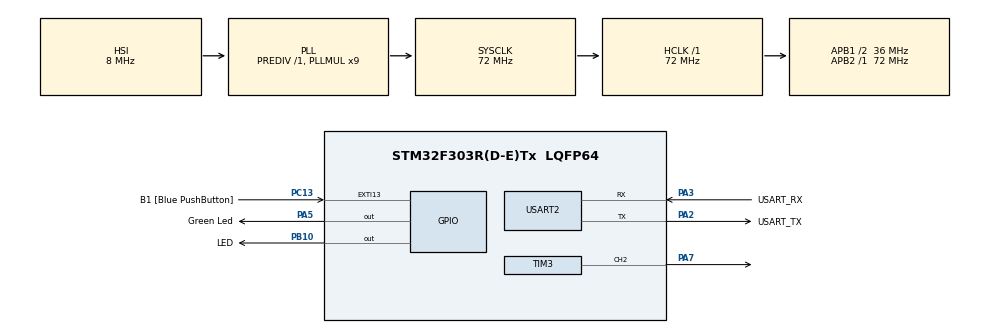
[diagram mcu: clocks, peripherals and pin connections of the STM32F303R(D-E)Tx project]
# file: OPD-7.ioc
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Mcu.Family=STM32F3
Mcu.Name=STM32F303R(D-E)Tx
Mcu.Package=LQFP64
NVIC.PriorityGroup=NVIC_PRIORITYGROUP_0
NVIC.TIM3_IRQn=true\:0\:0\:false\:false\:true\:true\:true\:true
PA13.GPIO_Label=TMS
PA13.Mode=Serial_Wire
PA13.Signal=SYS_JTMS-SWDIO
PA14.GPIO_Label=TCK
PA14.Mode=Serial_Wire
PA14.Signal=SYS_JTCK-SWCLK
PA2.GPIO_Label=USART_TX
PA2.GPIO_Mode=GPIO_MODE_AF_PP
PA2.GPIO_PuPd=GPIO_NOPULL
PA2.GPIO_Speed=GPIO_SPEED_FREQ_LOW
PA2.Mode=Asynchronous
PA2.Signal=USART2_TX
PA3.GPIO_Label=USART_RX
PA3.GPIO_Mode=GPIO_MODE_AF_PP
PA3.GPIO_PuPd=GPIO_NOPULL
PA3.GPIO_Speed=GPIO_SPEED_FREQ_LOW
PA3.Mode=Asynchronous
PA3.Signal=USART2_RX
PA5.GPIO_Label=Green Led
PA5.GPIO_Mode=GPIO_MODE_OUTPUT_PP
PA5.GPIO_PuPd=GPIO_NOPULL
PA5.GPIO_Speed=GPIO_SPEED_FREQ_LOW
PA5.Signal=GPIO_Output
PA6.GPIO_Mode=GPIO_MODE_AF_PP
PA6.GPIO_PuPd=GPIO_NOPULL
PA6.GPIO_Speed=GPIO_SPEED_FREQ_LOW
PA6.Signal=S_TIM3_CH1
PA7.GPIO_Mode=GPIO_MODE_AF_PP
PA7.GPIO_PuPd=GPIO_NOPULL
PA7.GPIO_Speed=GPIO_SPEED_FREQ_LOW
PA7.Signal=S_TIM3_CH2
PB10.GPIO_Label=LED
PB10.Signal=GPIO_Output
PB3.GPIO_Label=SWO
PB3.Signal=SYS_JTDO-TRACESWO
PC13.GPIO_Label=B1 [Blue PushButton]
PC13.GPIO_ModeDefaultEXTI=GPIO_MODE_IT_FALLING
PC13.Signal=GPXTI13
PC14-OSC32_IN.Mode=LSE-External-Oscillator
PC14-OSC32_IN.Signal=RCC_OSC32_IN
PC15-OSC32_OUT.Mode=LSE-External-Oscillator
PC15-OSC32_OUT.Signal=RCC_OSC32_OUT
PF0-OSC_IN.Mode=HSE-External-Clock-Source
PF0-OSC_IN.Signal=RCC_OSC_IN
PF1-OSC_OUT.Signal=RCC_OSC_OUT
ProjectManager.HeapSize=0x200
ProjectManager.StackSize=0x400
ProjectManager.TargetToolchain=STM32CubeIDE
RCC.AHBFreq_Value=72000000
RCC.APB1CLKDivider=RCC_HCLK_DIV2
RCC.APB1Freq_Value=36000000
RCC.APB1TimFreq_Value=72000000
RCC.APB2Freq_Value=72000000
RCC.APB2TimFreq_Value=72000000
RCC.CortexFreq_Value=72000000
RCC.HCLKFreq_Value=72000000
RCC.HSE_VALUE=8000000
RCC.HSI_VALUE=8000000
RCC.PLLM=8
RCC.PLLMUL=RCC_PLL_MUL9
RCC.PLLN=336
RCC.PLLP=RCC_PLLP_DIV4
RCC.PLLQ=7
RCC.RCC_PLLsource_Clock_Source_FROM_HSE=RCC_HSE_PREDIV_DIV2
RCC.SYSCLKFreq_VALUE=72000000
RCC.SYSCLKSourceVirtual=RCC_SYSCLKSOURCE_PLLCLK
RCC.USBFreq_Value=72000000
SH.S_TIM3_CH1.0=TIM3_CH1
SH.S_TIM3_CH2.0=TIM3_CH2,Output Compare2 CH2
TIM3.Channel-Output\ Compare2\ CH2=TIM_CHANNEL_2
TIM3.OC2Preload=ENABLE
TIM3.OCMode_2=TIM_OCMODE_TOGGLE
TIM3.Prescaler=7200-1
USART2.VirtualMode-Asynchronous=VM_ASYNC
VP_TIM3_VS_ClockSourceINT.Mode=Internal
board=NUCLEO-F303RE

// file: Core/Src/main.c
/* USER CODE BEGIN Header */
/**
  ******************************************************************************
  * @file           : main.c
  * @brief          : Main program body
  ******************************************************************************
  * @attention
  *
  * Copyright (c) 2026 STMicroelectronics.
  * All rights reserved.
  *
  * This software is licensed under terms that can be found in the LICENSE file
  * in the root directory of this software component.
  * If no LICENSE file comes with this software, it is provided AS-IS.
  *
  ******************************************************************************
  */
/* USER CODE END Header */
#include "main.h"

/* USER CODE BEGIN Includes */
#include <stdio.h>
/* USER CODE END Includes */

/* USER CODE BEGIN PD */
#define KNIPPERTIJD 500
#define KLOK_FREQ 72000000
#define PRESCALER 7200
#define NOTE_D  293.66
#define NOTE_Ds 311.13
#define NOTE_F  349.23
#define NOTE_G  392.0
#define TIJDSDUUR1 180
#define TIJDSDUUR2 120
/* USER CODE END PD */

TIM_HandleTypeDef htim3;

UART_HandleTypeDef huart2;

/* USER CODE BEGIN PV */
int autoReload = 5000-1;
/* USER CODE END PV */

void SystemClock_Config(void);
static void MX_GPIO_Init(void);
static void MX_USART2_UART_Init(void);
static void MX_TIM3_Init(void);
/* USER CODE BEGIN PFP */
void speelNoot(double noot, int duur);
/* USER CODE END PFP */

int main(void)
{

  /* MCU Configuration--------------------------------------------------------*/

  /* Reset of all peripherals, Initializes the Flash interface and the Systick. */
  HAL_Init();

  /* Configure the system clock */
  SystemClock_Config();

  /* Initialize all configured peripherals */
  MX_GPIO_Init();
  MX_USART2_UART_Init();
  MX_TIM3_Init();
  /* USER CODE BEGIN 2 */
  char outpbuf[30]={0};
  int aantalc;
  aantalc=sprintf(outpbuf,"De knipper LED\r\n");
  HAL_UART_Transmit(&huart2, (uint8_t*)outpbuf, aantalc, HAL_MAX_DELAY);
  HAL_TIM_Base_Start(&htim3);

  speelNoot(NOTE_G, TIJDSDUUR1);
  HAL_Delay(TIJDSDUUR2);
  speelNoot(NOTE_G, TIJDSDUUR1);
  HAL_Delay(TIJDSDUUR2);
  speelNoot(NOTE_G, TIJDSDUUR1);
  HAL_Delay(TIJDSDUUR2);
  speelNoot(NOTE_Ds, 4 * TIJDSDUUR1);
  HAL_Delay(2 * TIJDSDUUR2);
  speelNoot(NOTE_F, TIJDSDUUR1);
  HAL_Delay(TIJDSDUUR2);
  speelNoot(NOTE_F, TIJDSDUUR1);
  HAL_Delay(TIJDSDUUR2);
  speelNoot(NOTE_F, TIJDSDUUR1);
  HAL_Delay(TIJDSDUUR2);
  speelNoot(NOTE_D, 4 * TIJDSDUUR1);

  HAL_TIM_OC_Stop(&htim3, TIM_CHANNEL_2);
  HAL_TIM_Base_Stop(&htim3);

  /* USER CODE END 2 */

  /* Infinite loop */
  while (1)
  {

  }
}

void SystemClock_Config(void)
{
  RCC_OscInitTypeDef RCC_OscInitStruct = {0};
  RCC_ClkInitTypeDef RCC_ClkInitStruct = {0};
  RCC_PeriphCLKInitTypeDef PeriphClkInit = {0};

  /** Initializes the RCC Oscillators according to the specified parameters
  * in the RCC_OscInitTypeDef structure.
  */
  RCC_OscInitStruct.OscillatorType = RCC_OSCILLATORTYPE_HSI;
  RCC_OscInitStruct.HSIState = RCC_HSI_ON;
  RCC_OscInitStruct.HSICalibrationValue = RCC_HSICALIBRATION_DEFAULT;
  RCC_OscInitStruct.PLL.PLLState = RCC_PLL_ON;
  RCC_OscInitStruct.PLL.PLLSource = RCC_PLLSOURCE_HSI;
  RCC_OscInitStruct.PLL.PLLMUL = RCC_PLL_MUL9;
  RCC_OscInitStruct.PLL.PREDIV = RCC_PREDIV_DIV1;
  if (HAL_RCC_OscConfig(&RCC_OscInitStruct) != HAL_OK)
  {
    Error_Handler();
  }

  /** Initializes the CPU, AHB and APB buses clocks
  */
  RCC_ClkInitStruct.ClockType = RCC_CLOCKTYPE_HCLK|RCC_CLOCKTYPE_SYSCLK
                              |RCC_CLOCKTYPE_PCLK1|RCC_CLOCKTYPE_PCLK2;
  RCC_ClkInitStruct.SYSCLKSource = RCC_SYSCLKSOURCE_PLLCLK;
  RCC_ClkInitStruct.AHBCLKDivider = RCC_SYSCLK_DIV1;
  RCC_ClkInitStruct.APB1CLKDivider = RCC_HCLK_DIV2;
  RCC_ClkInitStruct.APB2CLKDivider = RCC_HCLK_DIV1;

  if (HAL_RCC_ClockConfig(&RCC_ClkInitStruct, FLASH_LATENCY_2) != HAL_OK)
  {
    Error_Handler();
  }
  PeriphClkInit.PeriphClockSelection = RCC_PERIPHCLK_USART2|RCC_PERIPHCLK_TIM34;
  PeriphClkInit.Usart2ClockSelection = RCC_USART2CLKSOURCE_PCLK1;
  PeriphClkInit.Tim34ClockSelection = RCC_TIM34CLK_HCLK;
  if (HAL_RCCEx_PeriphCLKConfig(&PeriphClkInit) != HAL_OK)
  {
    Error_Handler();
  }
}

static void MX_TIM3_Init(void)
{

  TIM_ClockConfigTypeDef sClockSourceConfig = {0};
  TIM_MasterConfigTypeDef sMasterConfig = {0};
  TIM_OC_InitTypeDef sConfigOC = {0};

  htim3.Instance = TIM3;
  htim3.Init.Prescaler = 7200-1;
  htim3.Init.CounterMode = TIM_COUNTERMODE_UP;
  htim3.Init.Period = 65535;
  htim3.Init.ClockDivision = TIM_CLOCKDIVISION_DIV1;
  htim3.Init.AutoReloadPreload = TIM_AUTORELOAD_PRELOAD_DISABLE;
  if (HAL_TIM_Base_Init(&htim3) != HAL_OK)
  {
    Error_Handler();
  }
  sClockSourceConfig.ClockSource = TIM_CLOCKSOURCE_INTERNAL;
  if (HAL_TIM_ConfigClockSource(&htim3, &sClockSourceConfig) != HAL_OK)
  {
    Error_Handler();
  }
  if (HAL_TIM_OC_Init(&htim3) != HAL_OK)
  {
    Error_Handler();
  }
  sMasterConfig.MasterOutputTrigger = TIM_TRGO_RESET;
  sMasterConfig.MasterSlaveMode = TIM_MASTERSLAVEMODE_DISABLE;
  if (HAL_TIMEx_MasterConfigSynchronization(&htim3, &sMasterConfig) != HAL_OK)
  {
    Error_Handler();
  }
  sConfigOC.OCMode = TIM_OCMODE_TOGGLE;
  sConfigOC.Pulse = 0;
  sConfigOC.OCPolarity = TIM_OCPOLARITY_HIGH;
  sConfigOC.OCFastMode = TIM_OCFAST_DISABLE;
  if (HAL_TIM_OC_ConfigChannel(&htim3, &sConfigOC, TIM_CHANNEL_2) != HAL_OK)
  {
    Error_Handler();
  }
  __HAL_TIM_ENABLE_OCxPRELOAD(&htim3, TIM_CHANNEL_2);
  HAL_TIM_MspPostInit(&htim3);

}

static void MX_USART2_UART_Init(void)
{

  huart2.Instance = USART2;
  huart2.Init.BaudRate = 38400;
  huart2.Init.WordLength = UART_WORDLENGTH_8B;
  huart2.Init.StopBits = UART_STOPBITS_1;
  huart2.Init.Parity = UART_PARITY_NONE;
  huart2.Init.Mode = UART_MODE_TX_RX;
  huart2.Init.HwFlowCtl = UART_HWCONTROL_NONE;
  huart2.Init.OverSampling = UART_OVERSAMPLING_16;
  huart2.Init.OneBitSampling = UART_ONE_BIT_SAMPLE_DISABLE;
  huart2.AdvancedInit.AdvFeatureInit = UART_ADVFEATURE_NO_INIT;
  if (HAL_UART_Init(&huart2) != HAL_OK)
  {
    Error_Handler();
  }

}

static void MX_GPIO_Init(void)
{
  GPIO_InitTypeDef GPIO_InitStruct = {0};

  /* GPIO Ports Clock Enable */
  __HAL_RCC_GPIOC_CLK_ENABLE();
  __HAL_RCC_GPIOF_CLK_ENABLE();
  __HAL_RCC_GPIOA_CLK_ENABLE();
  __HAL_RCC_GPIOB_CLK_ENABLE();

  /*Configure GPIO pin Output Level */
  HAL_GPIO_WritePin(Green_Led_GPIO_Port, Green_Led_Pin, GPIO_PIN_RESET);

  /*Configure GPIO pin Output Level */
  HAL_GPIO_WritePin(LED_GPIO_Port, LED_Pin, GPIO_PIN_RESET);

  /*Configure GPIO pin : B1_Pin */
  GPIO_InitStruct.Pin = B1_Pin;
  GPIO_InitStruct.Mode = GPIO_MODE_IT_FALLING;
  GPIO_InitStruct.Pull = GPIO_NOPULL;
  HAL_GPIO_Init(B1_GPIO_Port, &GPIO_InitStruct);

  /*Configure GPIO pin : Green_Led_Pin */
  GPIO_InitStruct.Pin = Green_Led_Pin;
  GPIO_InitStruct.Mode = GPIO_MODE_OUTPUT_PP;
  GPIO_InitStruct.Pull = GPIO_NOPULL;
  GPIO_InitStruct.Speed = GPIO_SPEED_FREQ_LOW;
  HAL_GPIO_Init(Green_Led_GPIO_Port, &GPIO_InitStruct);

  /*Configure GPIO pin : LED_Pin */
  GPIO_InitStruct.Pin = LED_Pin;
  GPIO_InitStruct.Mode = GPIO_MODE_OUTPUT_PP;
  GPIO_InitStruct.Pull = GPIO_NOPULL;
  GPIO_InitStruct.Speed = GPIO_SPEED_FREQ_LOW;
  HAL_GPIO_Init(LED_GPIO_Port, &GPIO_InitStruct);

}

/* USER CODE BEGIN 4 */
void HAL_GPIO_EXTI_Callback(uint16_t GPIO_Pin)
{
    if(GPIO_Pin == B1_Pin) {

        autoReload = autoReload / 2;
        if(autoReload < 100)
            autoReload = 5000-1;

        __HAL_TIM_SET_AUTORELOAD(&htim3, autoReload);
    }
}
void speelNoot(double noot, int duur)
{
    uint32_t arr = (uint32_t)((KLOK_FREQ / (2.0 * PRESCALER * noot)) - 1);

    __HAL_TIM_SET_AUTORELOAD(&htim3, arr);
  __HAL_TIM_SET_COMPARE(&htim3, TIM_CHANNEL_2, arr);
    __HAL_TIM_SET_COUNTER(&htim3, 0);

  HAL_TIM_OC_Start(&htim3, TIM_CHANNEL_2);   // toon aan
    HAL_Delay(duur);
  HAL_TIM_OC_Stop(&htim3, TIM_CHANNEL_2);    // toon uit
}
/* USER CODE END 4 */

void Error_Handler(void)
{
  __disable_irq();
  while (1)
  {
  }
}
